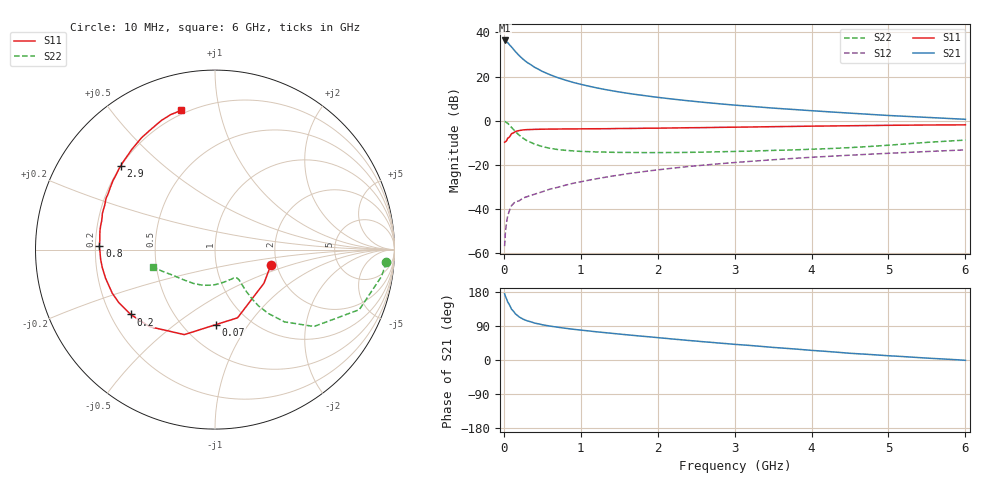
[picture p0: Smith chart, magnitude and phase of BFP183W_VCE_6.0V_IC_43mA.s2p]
! Infineon Technologies  Discrete & RF Semiconductors
! BFP183W
! VCE =  6.0 V,  IC =  43 mA
! Common Emitter S-Parameters:  Jan 2017
# GHz  S  MA  R  50
!  f  S11  S21  S12  S22
! GHz  MAG  ANG  MAG  ANG  MAG  ANG  MAG  ANG
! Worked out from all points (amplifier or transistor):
!   77 points, 10 MHz to 6 GHz, reference 50 ohm
!   highest |S21| = 36.4 dB at 10 MHz (marker M1)
!   |S21| within 3 dB of that: start of sweep to 101 MHz
!   unconditionally stable (mu >= 1): 775.4 MHz to 3.347 GHz
!   at 130 MHz: K = 0.37, MSG = 34.9 dB, |S12| = -37.5 dB
!   at 2.2 GHz: K = 1.06, MAG = 14.2 dB, |S12| = -21.6 dB
!   at 6 GHz: K = 0.85, MSG = 7.0 dB, |S12| = -13.3 dB
!   S11 on the Smith chart (normalised r, x): 10 MHz: 1.86, -0.36; 70 MHz: 0.71, -0.72; 200 MHz: 0.28, -0.32; 800 MHz: 0.22, +0.01; 2.9 GHz: 0.20, +0.37; 6 GHz: 0.18, +0.77
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0.01  0.3229 -15.8  65.9 174.6  0.0014 95.4  0.9571 -4.2
0.02  0.331 -34.5  64.99 168.5  0.0028 93.6  0.9395 -9.2
0.05  0.4002 -71.7  59.02 153.3  0.0068 73.1  0.8708 -22.6
0.07  0.4175 -89.1  53.46 146.6  0.0087 64.8  0.7956 -27.9
0.1  0.5037 -109.9  46.86 134.0  0.0117 57.5  0.6987 -37.8
0.15  0.5631 -130.3  36.88 121.9  0.0143 53.8  0.5592 -46.1
0.2  0.5925 -142.4  29.73 113.6  0.015 50.5  0.464 -50.1
0.25  0.6119 -151.1  24.72 107.8  0.0174 51.0  0.3966 -52.3
0.3  0.6218 -157.0  21.03 103.6  0.0186 51.7  0.3494 -53.0
0.4  0.6304 -165.4  16.19 97.4  0.0212 54.3  0.2902 -53.2
0.5  0.6359 -170.9  13.07 93.0  0.0241 56.6  0.2561 -52.6
0.6  0.6395 -175.2  10.98 89.5  0.0277 57.9  0.2338 -52.1
0.7  0.6409 -178.8  9.436 86.5  0.0304 61.1  0.2195 -51.6
0.8  0.6447 178.2  8.286 83.7  0.034 62.8  0.2108 -51.6
1.1  0.6495 170.5  6.054 76.8  0.044 64.8  0.1966 -53.2
1.5  0.659 162.2  4.451 68.5  0.0577 65.2  0.1888 -58.1
2.1  0.6745 151.0  3.21 57.2  0.0793 64.1  0.1872 -71.0
2.9  0.703 138.3  2.32 43.1  0.1076 60.1  0.1968 -92.6
3.1  0.7095 135.4  2.172 39.9  0.1146 58.9  0.2002 -98.1
4.1  0.7483 122.0  1.63 24.0  0.1496 52.7  0.2259 -125.1
5.1  0.7814 111.6  1.276 10.1  0.1835 46.1  0.2832 -150.8
6  0.7978 103.7  1.067 -0.8  0.2152 39.7  0.3597 -164.4
